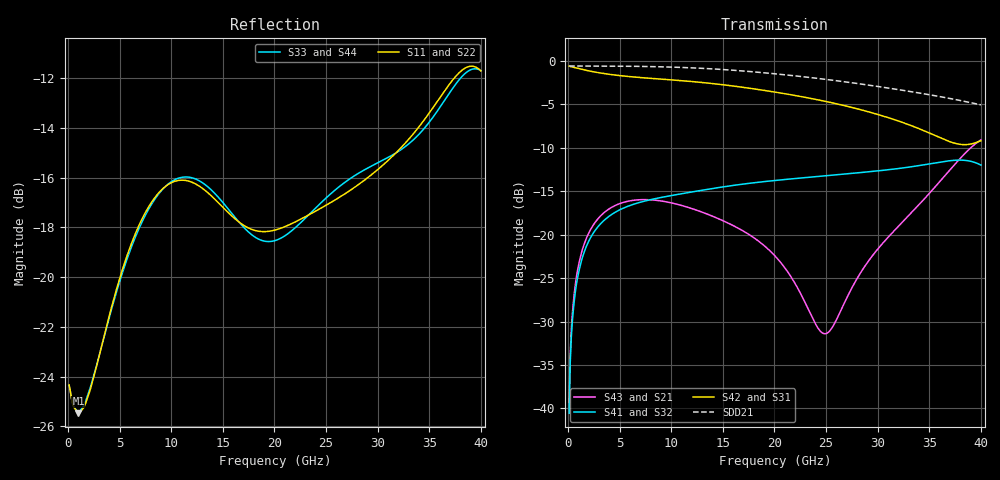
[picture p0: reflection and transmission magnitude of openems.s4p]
! E_s8_L1L8_p1000_oval_g0: pair L1→L8, pitch 1 mm, one oval antipad, 0 GND vias
! stackup: 8-layer 1.6 mm FR-4 (generic)
! ports: 1 P near, 2 N near, 3 P far, 4 N far
! openEMS 0.37.0, staircase, fine mesh (dfine 0.0175 mm), 1609608 cells
# Hz S RI R 50
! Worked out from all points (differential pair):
!   400 points, 100 MHz to 40 GHz, reference 50 ohm
!   strongest paths, dB at 100 MHz, 10.1 GHz, 20.1 GHz, 30.1 GHz, 40 GHz:
!     S42: -0.6, -2.2, -3.6, -6.2, -9.2
!     S31: -0.6, -2.2, -3.6, -6.2, -9.2
!     S41: -40.6, -15.5, -13.8, -12.6, -12.0
!     S32: -40.6, -15.5, -13.8, -12.6, -12.0
!     S43: -39.5, -16.4, -22.5, -21.5, -9.1
!     S21: -39.4, -16.4, -22.5, -21.5, -9.1
!   taken as a pair (ports 2,1 in; 4,3 out), SDD21 dB: -0.6, -0.7, -1.5, -3.0, -5.1
!   lowest |S11| = -25.5 dB at 1 GHz (marker M1), VSWR 1.11, Z = 48.7 + j5.09 ohm
!   |S11| at or under -10 dB: start of sweep to end of sweep
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1e8  -0.0598 0.0107  0.00471 0.00957  0.9322 -0.044  -0.00261 -0.00899
     0.00471 0.00957  -0.0598 0.0107  -0.00261 -0.00899  0.9322 -0.044
     0.9322 -0.044  -0.00261 -0.00901  -0.0596 0.0107  0.00472 0.00955
     -0.00261 -0.00901  0.9322 -0.044  0.00472 0.00955  -0.0596 0.0107
1e9  -0.0107 0.0522  0.0525 0.0403  0.8224 -0.3763  -0.0484 -0.0351
     0.0525 0.0403  -0.0107 0.0522  -0.0484 -0.0351  0.8224 -0.3763
     0.8224 -0.3763  -0.0484 -0.0351  -0.0106 0.0525  0.0525 0.0404
     -0.0484 -0.0351  0.8224 -0.3763  0.0525 0.0404  -0.0106 0.0525
7.8e9  -0.1123 -0.0808  -0.1031 -0.1209  -0.7901 -0.0966  0.1163 0.1072
       -0.1031 -0.1209  -0.1123 -0.0808  0.1163 0.1072  -0.7901 -0.0966
       -0.7898 -0.0968  0.1163 0.1072  -0.1118 -0.079  -0.1026 -0.1215
       0.1163 0.1072  -0.7898 -0.0968  -0.1026 -0.1215  -0.1118 -0.079
1.61e10  0.1308 0.0123  0.0812 0.0772  0.7119 0.0794  -0.1482 -0.123
         0.0812 0.0772  0.1308 0.0123  -0.1482 -0.123  0.7119 0.0794
         0.7118 0.0789  -0.1483 -0.1229  0.1311 0.0186  0.0804 0.0781
         -0.1483 -0.1229  0.7118 0.0789  0.0804 0.0781  0.1311 0.0186
2.4e10  -0.127 0.0479  -0.029 -0.00918  -0.5822 -0.1498  0.1557 0.1495
        -0.029 -0.00918  -0.127 0.0479  0.1557 0.1495  -0.5822 -0.1498
        -0.5819 -0.1504  0.1555 0.1497  -0.1269 0.0535  -0.0289 -0.0096
        0.1555 0.1497  -0.5819 -0.1504  -0.0289 -0.0096  -0.1269 0.0535
3.23e10  0.1683 -0.0702  0.0583 -0.1005  0.4281 0.1252  -0.2016 -0.1341
         0.0583 -0.1005  0.1683 -0.0702  -0.2016 -0.1341  0.4281 0.1252
         0.4275 0.1242  -0.2014 -0.1335  0.1714 -0.0569  0.0606 -0.0995
         -0.2014 -0.1335  0.4275 0.1242  0.0606 -0.0995  0.1714 -0.0569
4e10  -0.2565 0.0396  -0.2296 0.2655  -0.214 -0.2743  0.2486 0.0408
      -0.2296 0.2655  -0.2565 0.0396  0.2486 0.0408  -0.214 -0.2743
      -0.2128 -0.2747  0.2482 0.0415  -0.2558 0.0463  -0.2356 0.2609
      0.2482 0.0415  -0.2128 -0.2747  -0.2356 0.2609  -0.2558 0.0463
